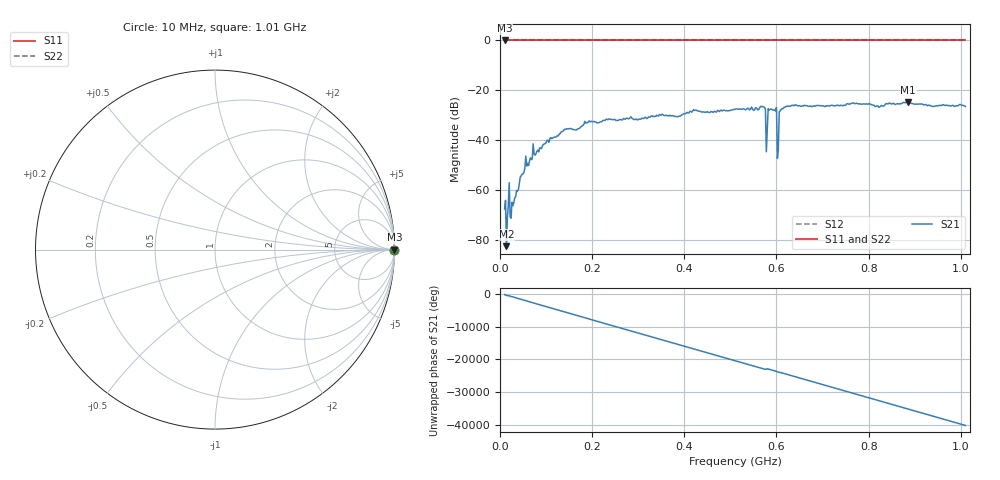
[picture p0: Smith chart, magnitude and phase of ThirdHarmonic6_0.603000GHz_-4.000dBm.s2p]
! 8/15/2025 7:41:19 PM
! C:\ANRITSUVNA\TEMP\TEMP.S2P
! CHANNEL.1
! TR.MEASUREMENT
! RAW.DATA
! RF.CORRECTION.OFF
! AVERAGING.OFF
! IF.BANDWIDTH: 5KHZ
! SWEEPTYPE:  FREQ.SWEEP(Linear)
! Reference Plane Port Info
! PORT:  PORT1  PORT2
! DISTANCE:  0  m  0  m
! TIME:  0  s  0  s
! PHASE.OFFSET:  0  deg.  0  deg.
! LOSS:  0  dB  0  dB
! REF.LOSS:  0  dB  0  dB
! REF.FREQ:  0  Hz  0  Hz
! Power Info
! POWER:  -20  dBm  -20  dBm
! EFF.POWER:  -20  dBm  -20  dBm
! SOURCE.ATTEN:  0  dB  0  dB
! TEST.ATTEN:  0  dB  0  dB
# GHZ S RI R 50.0
! FREQ.GHZ  S11RE  S11IM  S21RE  S21IM  S12RE  S12IM  S22RE  S22IM
!; PortSelection: Port_12
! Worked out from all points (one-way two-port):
!   501 points, 10 MHz to 1.01 GHz, reference 50 ohm
!   highest |S21| = -24.67 dB at 886 MHz (marker M1); lowest = -82.4 dB at 14 MHz (marker M2)
!   lowest |S11| = 0.0 dB at 10 MHz (marker M3)
!   |S11| at or under -10 dB: nowhere
!   |S22| runs from 0.0 to 0.0 dB; largest |S21 - S12| = 1.1
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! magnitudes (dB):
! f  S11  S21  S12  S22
! 10 MHz  0.0  -67.5  0.0  0.0
! 14 MHz  0.0  -82.4  0.0  0.0
! 22 MHz  0.0  -70.7  0.0  0.0
! 26 MHz  0.0  -64.8  0.0  0.0
! 52 MHz  0.0  -52.8  0.0  0.0
! 76 MHz  0.0  -46.0  0.0  0.0
! 178 MHz  0.0  -34.2  0.0  0.0
! 344 MHz  0.0  -30.3  0.0  0.0
! 510 MHz  0.0  -27.6  0.0  0.0
! 570 MHz  0.0  -26.5  0.0  0.0
! 576 MHz  0.0  -27.5  0.0  0.0
! 582 MHz  0.0  -27.3  0.0  0.0
! 586 MHz  0.0  -27.6  0.0  0.0
! 596 MHz  0.0  -27.9  0.0  0.0
! 600 MHz  0.0  -26.9  0.0  0.0
! 606 MHz  0.0  -28.6  0.0  0.0
! 610 MHz  0.0  -27.7  0.0  0.0
! 614 MHz  0.0  -27.4  0.0  0.0
! 678 MHz  0.0  -26.5  0.0  0.0
! 844 MHz  0.0  -25.1  0.0  0.0
! 886 MHz  0.0  -24.7  0.0  0.0
! 1.01 GHz  0.0  -26.5  0.0  0.0
